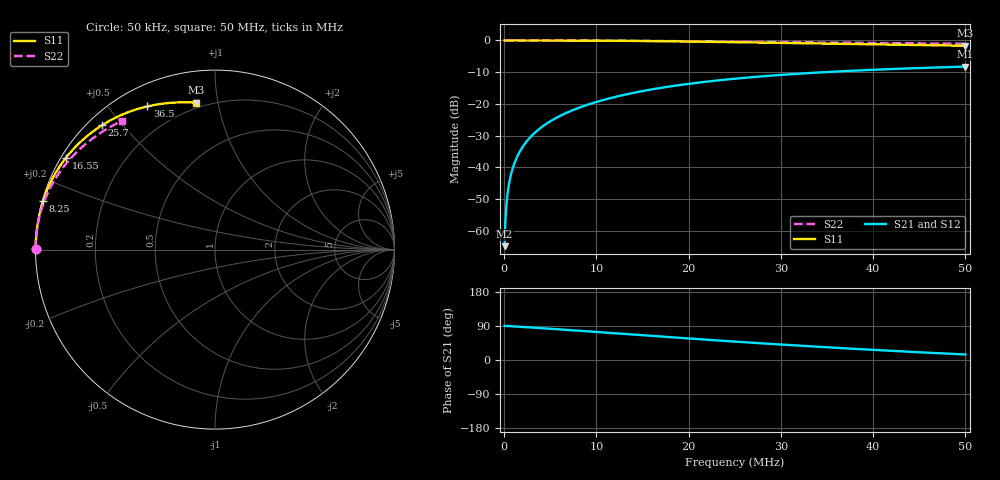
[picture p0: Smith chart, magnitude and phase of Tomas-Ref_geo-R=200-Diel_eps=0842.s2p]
! TOUCHSTONE file generated by CST MICROWAVE STUDIO
! Date and time: Thu Oct 06 20:46:09 2016
! Project name: tomas_icrh_linear_2016-plasma-Rdiel=200.cst
! Header version: 2015
! Port assignment regex: !\s*Touchstone port\s*([0-9]+)\s*=\s*CST MWS port\s*([0-9]+)\s*\(\"(.*)\"\)(\s*mode\s*([0-9]+))?.*
! Touchstone port assignment:
! Touchstone port 1 = CST MWS port 1 ("")
! Touchstone port 2 = CST MWS port 2 ("")
# MHZ S MA R 50
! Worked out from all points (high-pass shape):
!   1000 points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, 50 kHz to 50 MHz, reference 50 ohm
!   highest |S21| = -8.24 dB at 50 MHz (marker M1); lowest = -64.9 dB at 50 kHz (marker M2)
!   |S21| within 3 dB of the highest: 28.25 MHz to end of sweep
!   lowest |S11| = -1.7 dB at 50 MHz (marker M3), VSWR 10.43, Z = 8.44 + j43.3 ohm
!   |S11| at or under -10 dB: nowhere
!   |S22| runs from -1.1 to 0.0 dB; largest |S21 - S12| = 1.5e-06
!   S11 on the Smith chart (normalised r, x): 50 kHz: 0.00, +0.00; 8.25 MHz: 0.00, +0.14; 16.55 MHz: 0.01, +0.28; 25.7 MHz: 0.04, +0.44; 36.5 MHz: 0.09, +0.63; 50 MHz: 0.17, +0.87
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0.05  1 179.9  0.0005719 89.9  0.0005719 89.9  1 179.9
0.15  1 179.7  0.001599 90.0  0.001599 90.0  1 179.8
0.4  0.9998 179.2  0.004177 89.7  0.004177 89.7  1 179.5
0.5  0.9997 179.0  0.005212 89.5  0.005212 89.5  1 179.4
0.65  0.9996 178.7  0.006767 89.3  0.006767 89.3  0.9999 179.2
0.85  0.9995 178.4  0.008848 89.0  0.008847 89.0  0.9999 179.0
1.15  0.9993 177.8  0.01198 88.6  0.01198 88.6  0.9999 178.6
1.85  0.999 176.4  0.01935 87.5  0.01935 87.5  0.9998 177.7
2.9  0.9986 174.4  0.03054 85.9  0.03053 85.9  0.9995 176.5
4.3  0.998 171.7  0.04562 83.6  0.04561 83.6  0.9989 174.8
6.05  0.9972 168.4  0.06461 80.7  0.06461 80.7  0.9978 172.6
8.25  0.9953 164.1  0.08848 77.0  0.08848 77.0  0.9959 170.0
8.4  0.9952 163.9  0.0901 76.8  0.0901 76.8  0.9957 169.8
12.1  0.9887 156.7  0.1295 70.4  0.1295 70.4  0.9906 165.4
16.55  0.9753 148.3  0.1747 62.7  0.1747 62.7  0.9818 160.1
16.7  0.9748 148.1  0.1762 62.4  0.1762 62.4  0.9814 159.9
25.05  0.9388 133.2  0.25 48.5  0.25 48.5  0.959 150.5
25.7  0.9357 132.2  0.2551 47.5  0.2551 47.5  0.9571 149.8
33.35  0.8979 119.9  0.3082 35.9  0.3082 35.9  0.9334 141.7
36.5  0.8823 115.2  0.3266 31.4  0.3266 31.4  0.9236 138.5
41.7  0.858 108.0  0.3529 24.5  0.3529 24.5  0.9079 133.5
50  0.8251 97.3  0.3873 14.5  0.3873 14.5  0.8852 125.9
